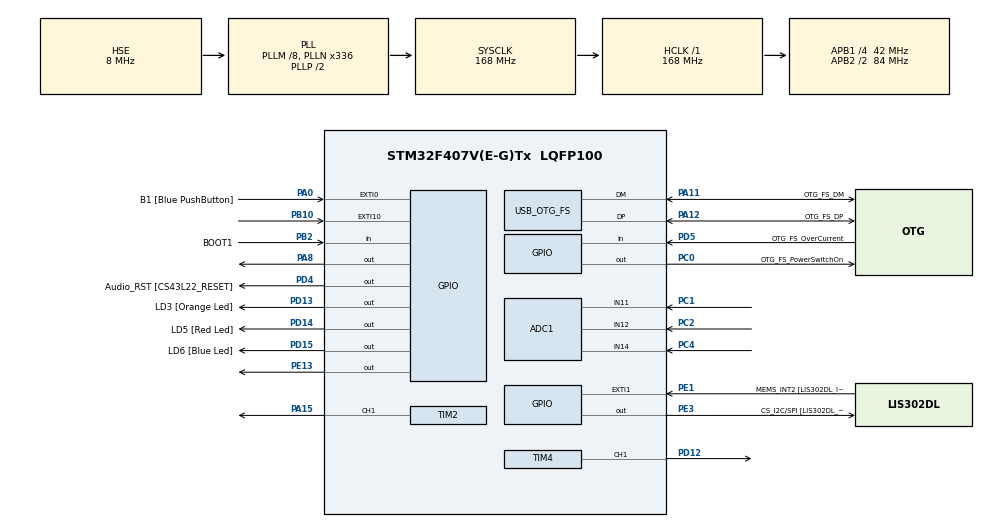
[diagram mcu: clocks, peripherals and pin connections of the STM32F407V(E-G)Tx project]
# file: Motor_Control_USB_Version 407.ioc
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ADC1.Channel-0\#ChannelRegularConversion=ADC_CHANNEL_11
ADC1.Channel-1\#ChannelRegularConversion=ADC_CHANNEL_12
ADC1.Channel-2\#ChannelRegularConversion=ADC_CHANNEL_14
ADC1.ContinuousConvMode=DISABLE
ADC1.DMAContinuousRequests=ENABLE
ADC1.ExternalTrigConv=ADC_EXTERNALTRIGCONV_T3_TRGO
ADC1.NbrOfConversion=3
ADC1.NbrOfConversionFlag=1
ADC1.Rank-0\#ChannelRegularConversion=1
ADC1.Rank-1\#ChannelRegularConversion=2
ADC1.Rank-2\#ChannelRegularConversion=3
ADC1.SamplingTime-0\#ChannelRegularConversion=ADC_SAMPLETIME_3CYCLES
ADC1.SamplingTime-1\#ChannelRegularConversion=ADC_SAMPLETIME_3CYCLES
ADC1.SamplingTime-2\#ChannelRegularConversion=ADC_SAMPLETIME_3CYCLES
ADC1.ScanConvMode=ENABLE
ADC1.master=1
Dma.ADC1.0.Direction=DMA_PERIPH_TO_MEMORY
Dma.ADC1.0.FIFOMode=DMA_FIFOMODE_DISABLE
Dma.ADC1.0.Instance=DMA2_Stream0
Dma.ADC1.0.MemDataAlignment=DMA_MDATAALIGN_HALFWORD
Dma.ADC1.0.MemInc=DMA_MINC_ENABLE
Dma.ADC1.0.Mode=DMA_CIRCULAR
Dma.ADC1.0.PeriphDataAlignment=DMA_PDATAALIGN_HALFWORD
Dma.ADC1.0.PeriphInc=DMA_PINC_DISABLE
Dma.ADC1.0.Priority=DMA_PRIORITY_LOW
Dma.Request0=ADC1
Mcu.Family=STM32F4
Mcu.Name=STM32F407V(E-G)Tx
Mcu.Package=LQFP100
NVIC.DMA2_Stream0_IRQn=true\:0\:0\:false\:false\:true\:false\:true\:true
NVIC.EXTI15_10_IRQn=true\:0\:0\:false\:false\:true\:true\:true\:true
NVIC.OTG_FS_IRQn=true\:0\:0\:false\:false\:true\:false\:true\:true
NVIC.PriorityGroup=NVIC_PRIORITYGROUP_0
NVIC.TIM1_CC_IRQn=true\:0\:0\:false\:false\:true\:true\:true\:true
NVIC.TIM1_UP_TIM10_IRQn=true\:0\:0\:false\:false\:true\:true\:true\:true
PA0-WKUP.GPIO_Label=B1 [Blue PushButton]
PA0-WKUP.GPIO_ModeDefaultEXTI=GPIO_MODE_EVT_RISING
PA0-WKUP.GPIO_PuPd=GPIO_NOPULL
PA0-WKUP.Signal=GPXTI0
PA10.GPIO_Label=OTG_FS_ID
PA10.GPIO_Mode=GPIO_MODE_AF_PP
PA10.GPIO_PuPd=GPIO_NOPULL
PA10.GPIO_Speed=GPIO_SPEED_FREQ_LOW
PA10.Signal=USB_OTG_FS_ID
PA11.GPIO_Label=OTG_FS_DM
PA11.GPIO_Mode=GPIO_MODE_AF_PP
PA11.GPIO_PuPd=GPIO_NOPULL
PA11.GPIO_Speed=GPIO_SPEED_FREQ_LOW
PA11.Mode=Device_Only
PA11.Signal=USB_OTG_FS_DM
PA12.GPIO_Label=OTG_FS_DP
PA12.GPIO_Mode=GPIO_MODE_AF_PP
PA12.GPIO_PuPd=GPIO_NOPULL
PA12.GPIO_Speed=GPIO_SPEED_FREQ_LOW
PA12.Mode=Device_Only
PA12.Signal=USB_OTG_FS_DP
PA13.GPIO_Label=SWDIO
PA13.Mode=Serial_Wire
PA13.Signal=SYS_JTMS-SWDIO
PA14.GPIO_Label=SWCLK
PA14.Mode=Serial_Wire
PA14.Signal=SYS_JTCK-SWCLK
PA15.Signal=S_TIM2_CH1_ETR
PA8.Signal=GPIO_Output
PA9.GPIO_Label=VBUS_FS
PA9.GPIO_Mode=GPIO_MODE_INPUT
PA9.GPIO_PuPd=GPIO_NOPULL
PA9.Signal=USB_OTG_FS_VBUS
PB10.GPIO_PuPd=GPIO_PULLUP
PB10.Signal=GPXTI10
PB2.GPIO_Label=BOOT1
PB2.GPIO_Mode=GPIO_MODE_INPUT
PB2.GPIO_PuPd=GPIO_NOPULL
PB2.Signal=GPIO_Input
PB3.GPIO_Label=SWO
PB3.Signal=SYS_JTDO-SWO
PB6.GPIO_Label=Audio_SCL [CS43L22_SCL]
PB6.GPIO_Mode=GPIO_MODE_AF_OD
PB6.GPIO_Pu=GPIO_PULLUP
PB6.GPIO_PuPd=GPIO_NOPULL
PB6.GPIO_Speed=GPIO_SPEED_FREQ_LOW
PB6.Signal=I2C1_SCL
PB9.GPIO_Label=Audio_SDA [CS43L22_SDA]
PB9.GPIO_Mode=GPIO_MODE_AF_OD
PB9.GPIO_Pu=GPIO_PULLUP
PB9.GPIO_PuPd=GPIO_NOPULL
PB9.GPIO_Speed=GPIO_SPEED_FREQ_LOW
PB9.Signal=I2C1_SDA
PC0.GPIO_Label=OTG_FS_PowerSwitchOn
PC0.GPIO_PuPd=GPIO_NOPULL
PC0.GPIO_Speed=GPIO_SPEED_FREQ_LOW
PC0.PinState=GPIO_PIN_SET
PC0.Signal=GPIO_Output
PC1.Signal=ADCx_IN11
PC10.GPIO_Label=I2S3_SCK [CS43L22_SCLK]
PC10.GPIO_Mode=GPIO_MODE_AF_PP
PC10.GPIO_PuPd=GPIO_NOPULL
PC10.GPIO_Speed=GPIO_SPEED_FREQ_LOW
PC10.Signal=I2S3_CK
PC12.GPIO_Label=I2S3_SD [CS43L22_SDIN]
PC12.GPIO_Mode=GPIO_MODE_AF_PP
PC12.GPIO_PuPd=GPIO_NOPULL
PC12.GPIO_Speed=GPIO_SPEED_FREQ_LOW
PC12.Signal=I2S3_SD
PC14-OSC32_IN.GPIO_Label=PC14-OSC32_IN
PC14-OSC32_IN.Mode=LSE-External-Oscillator
PC14-OSC32_IN.Signal=RCC_OSC32_IN
PC15-OSC32_OUT.GPIO_Label=PC15-OSC32_OUT
PC15-OSC32_OUT.Mode=LSE-External-Oscillator
PC15-OSC32_OUT.Signal=RCC_OSC32_OUT
PC2.Signal=ADCx_IN12
PC3.GPIO_Label=PDM_OUT [MP45DT02_DOUT]
PC3.GPIO_Mode=GPIO_MODE_AF_PP
PC3.GPIO_PuPd=GPIO_NOPULL
PC3.GPIO_Speed=GPIO_SPEED_FREQ_LOW
PC3.Signal=I2S2_SD
PC4.Signal=ADCx_IN14
PC7.GPIO_Label=I2S3_MCK [CS43L22_MCLK]
PC7.GPIO_Mode=GPIO_MODE_AF_PP
PC7.GPIO_PuPd=GPIO_NOPULL
PC7.GPIO_Speed=GPIO_SPEED_FREQ_LOW
PC7.Signal=I2S3_MCK
PD12.Signal=S_TIM4_CH1
PD13.GPIO_Label=LD3 [Orange Led]
PD13.GPIO_PuPd=GPIO_NOPULL
PD13.GPIO_Speed=GPIO_SPEED_FREQ_LOW
PD13.Signal=GPIO_Output
PD14.GPIO_Label=LD5 [Red Led]
PD14.GPIO_PuPd=GPIO_NOPULL
PD14.GPIO_Speed=GPIO_SPEED_FREQ_LOW
PD14.Signal=GPIO_Output
PD15.GPIO_Label=LD6 [Blue Led]
PD15.GPIO_PuPd=GPIO_NOPULL
PD15.GPIO_Speed=GPIO_SPEED_FREQ_LOW
PD15.Signal=GPIO_Output
PD4.GPIO_Label=Audio_RST [CS43L22_RESET]
PD4.GPIO_PuPd=GPIO_NOPULL
PD4.GPIO_Speed=GPIO_SPEED_FREQ_LOW
PD4.Signal=GPIO_Output
PD5.GPIO_Label=OTG_FS_OverCurrent
PD5.GPIO_Mode=GPIO_MODE_INPUT
PD5.GPIO_PuPd=GPIO_NOPULL
PD5.Signal=GPIO_Input
PE1.GPIO_Label=MEMS_INT2 [LIS302DL_INT2]
PE1.GPIO_ModeDefaultEXTI=GPIO_MODE_EVT_RISING
PE1.GPIO_PuPd=GPIO_NOPULL
PE1.Signal=GPXTI1
PE13.Signal=GPIO_Output
PE3.GPIO_Label=CS_I2C/SPI [LIS302DL_CS_I2C/SPI]
PE3.GPIO_PuPd=GPIO_NOPULL
PE3.GPIO_Speed=GPIO_SPEED_FREQ_LOW
PE3.Signal=GPIO_Output
PH0-OSC_IN.GPIO_Label=PH0-OSC_IN
PH0-OSC_IN.Mode=HSE-External-Oscillator
PH0-OSC_IN.Signal=RCC_OSC_IN
PH1-OSC_OUT.GPIO_Label=PH1-OSC_OUT
PH1-OSC_OUT.Mode=HSE-External-Oscillator
PH1-OSC_OUT.Signal=RCC_OSC_OUT
ProjectManager.HeapSize=0x200
ProjectManager.StackSize=0x400
ProjectManager.TargetToolchain=STM32CubeIDE
RCC.48MHZClocksFreq_Value=48000000
RCC.AHBFreq_Value=168000000
RCC.APB1CLKDivider=RCC_HCLK_DIV4
RCC.APB1Freq_Value=42000000
RCC.APB1TimFreq_Value=84000000
RCC.APB2CLKDivider=RCC_HCLK_DIV2
RCC.APB2Freq_Value=84000000
RCC.APB2TimFreq_Value=168000000
RCC.CortexFreq_Value=168000000
RCC.HCLKFreq_Value=168000000
RCC.HSE_VALUE=8000000
RCC.HSI_VALUE=16000000
RCC.PLLM=8
RCC.PLLN=336
RCC.PLLQ=7
RCC.PLLSourceVirtual=RCC_PLLSOURCE_HSE
RCC.SYSCLKFreq_VALUE=168000000
RCC.SYSCLKSource=RCC_SYSCLKSOURCE_PLLCLK
RCC.VCOOutputFreq_Value=336000000
SH.ADCx_IN11.0=ADC1_IN11,IN11
SH.ADCx_IN12.0=ADC1_IN12,IN12
SH.ADCx_IN14.0=ADC1_IN14,IN14
SH.S_TIM2_CH1_ETR.0=TIM2_CH1,PWM Generation1 CH1
SH.S_TIM4_CH1.0=TIM4_CH1,PWM Generation1 CH1
TIM1.AutoReloadPreload=TIM_AUTORELOAD_PRELOAD_ENABLE
TIM1.Channel-Output\ Compare1\ No\ Output=TIM_CHANNEL_1
TIM1.Channel-Output\ Compare2\ No\ Output=TIM_CHANNEL_2
TIM1.Channel-Output\ Compare3\ No\ Output=TIM_CHANNEL_3
TIM1.Channel-Output\ Compare4\ No\ Output=TIM_CHANNEL_4
TIM1.Period=65535
TIM1.Prescaler=167
TIM1.TIM_MasterOutputTrigger=TIM_TRGO_OC1
TIM1.TIM_MasterSlaveMode=TIM_MASTERSLAVEMODE_ENABLE
TIM2.Channel-PWM\ Generation1\ CH1=TIM_CHANNEL_1
TIM3.TIM_MasterOutputTrigger=TIM_TRGO_UPDATE
TIM4.Channel-PWM\ Generation1\ CH1=TIM_CHANNEL_1
TIM4.Period=4420
TIM8.Period=1000
TIM8.Prescaler=15
USB_DEVICE.CLASS_NAME_FS=CDC
USB_DEVICE.VirtualMode-CDC_FS=Cdc
USB_DEVICE.VirtualModeFS=Cdc_FS
USB_OTG_FS.VirtualMode=Device_Only
VP_TIM1_VS_ClockSourceINT.Mode=Internal
VP_TIM1_VS_no_output1.Mode=Output Compare1 No Output
VP_TIM1_VS_no_output2.Mode=Output Compare2 No Output
VP_TIM1_VS_no_output3.Mode=Output Compare3 No Output
VP_TIM1_VS_no_output4.Mode=Output Compare4 No Output
VP_TIM2_VS_ClockSourceINT.Mode=Internal
VP_TIM2_VS_ClockSourceITR.Mode=TriggerSource_ITR0
VP_TIM3_VS_ClockSourceINT.Mode=Internal
VP_TIM4_VS_ClockSourceINT.Mode=Internal
VP_TIM4_VS_ClockSourceITR.Mode=TriggerSource_ITR1
VP_TIM8_VS_ClockSourceINT.Mode=Internal
VP_USB_DEVICE_VS_USB_DEVICE_CDC_FS.Mode=CDC_FS
board=STM32F407G-DISC1

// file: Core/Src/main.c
/* USER CODE BEGIN Header */
/**
  ******************************************************************************
  * @file           : main.c
  * @brief          : Main program body
  * @note           : керування параметрами стробів через USB.
  ******************************************************************************
  */
/* USER CODE END Header */
#include "main.h"
#include "adc.h"
#include "dma.h"
#include "tim.h"
#include "usb_device.h"
#include "gpio.h"

/* USER CODE BEGIN Includes */
#include "pid_regulator.h"
#include "usbd_cdc_if.h"
#include <string.h>
#include <stdio.h>
#include <stdlib.h>
#include "critical.h"
/* USER CODE END Includes */

/* USER CODE BEGIN PD */
#define COMMAND_BUFFER_SIZE 64
/* USER CODE END PD */

/* USER CODE BEGIN PM */
#define CLAMP_VALUE(value, min, max) ((value) < (min) ? (min) : ((value) > (max) ? (max) : (value)))
/* USER CODE END PM */

/* USER CODE BEGIN PV */
volatile uint32_t g_pulse_width_permille = 150;
volatile uint32_t g_phase_shift_permille = 250;
volatile uint32_t g_start_delay_permille = 150;
volatile uint16_t adc_buf[3];
volatile uint8_t g_is_main_pulse_active = 0;
volatile uint8_t g_is_duplicate_pulse_active = 0;
char g_command_buffer[COMMAND_BUFFER_SIZE];
volatile uint8_t g_new_command_flag = 0;
uint32_t g_last_telemetry_time = 0;
volatile float g_current_real_frequency = 0.0f;
/* USER CODE END PV */

void SystemClock_Config(void);

int main(void)
{
  /* MCU Configuration--------------------------------------------------------*/
  HAL_Init();
  SystemClock_Config();
  MX_GPIO_Init();
  MX_DMA_Init();
  MX_TIM1_Init();
  MX_ADC1_Init();
  MX_TIM8_Init();
  MX_TIM3_Init();
  MX_TIM2_Init();
  MX_TIM4_Init();
  MX_USB_DEVICE_Init();
  /* USER CODE BEGIN 2 */
  // Потенціометри не використовуються: параметри надходять з програми по USB
  HAL_TIM_Base_Start(&htim1);
  HAL_TIM_OC_Start_IT(&htim1, TIM_CHANNEL_1);
  HAL_TIM_OC_Start_IT(&htim1, TIM_CHANNEL_2);
  HAL_TIM_OC_Start_IT(&htim1, TIM_CHANNEL_3);
  HAL_TIM_OC_Start_IT(&htim1, TIM_CHANNEL_4);
  PID_Init(&htim4, TIM_CHANNEL_1);
  HAL_GPIO_WritePin(GPIOA, GPIO_PIN_8, GPIO_PIN_RESET);
  HAL_GPIO_WritePin(GPIOE, GPIO_PIN_13, GPIO_PIN_RESET);
  HAL_Delay(2000);
  /* USER CODE END 2 */

  /* Infinite loop */
  while (1)
  {
    /* USER CODE BEGIN 3 */
    if (g_new_command_flag)
    {
        g_new_command_flag = 0;
        int value_int;
        float value_float;
        char* equals_ptr = strchr(g_command_buffer, '=');
        if (equals_ptr != NULL)
        {
            // Поточні значення зчитуються до розгалуження за режимом
            float current_kp, current_ki, current_kd;
            PID_GetTunings(&current_kp, &current_ki, &current_kd);

            CRITICAL_ENTER();
            switch (g_command_buffer[0])
            {
                case 'p':
                    value_float = atof(equals_ptr + 1);
                    PID_SetTunings(value_float, current_ki, current_kd);
                    break;
                case 'i':
                    value_float = atof(equals_ptr + 1);
                    PID_SetTunings(current_kp, value_float, current_kd);
                    break;
                case 'd':
                    value_float = atof(equals_ptr + 1);
                    PID_SetTunings(current_kp, current_ki, value_float);
                    break;
                case 't':
                    value_float = atof(equals_ptr + 1);
                    PID_SetTarget(value_float);
                    break;
                case 'l': value_int = atoi(equals_ptr + 1); g_start_delay_permille = CLAMP_VALUE(value_int, 0, 300); break;
                case 'w': value_int = atoi(equals_ptr + 1); g_pulse_width_permille = CLAMP_VALUE(value_int, 0, 300); break;
                case 's': value_int = atoi(equals_ptr + 1); g_phase_shift_permille = CLAMP_VALUE(value_int, 0, 500); break;
            }
             CRITICAL_EXIT();
        }
    }

    if (HAL_GetTick() - g_last_telemetry_time > 200)
    {
        g_last_telemetry_time = HAL_GetTick();
        char telemetry_buf[128];
        float kp, ki, kd, target_freq;
        uint32_t delay_pm, width_pm, shift_pm;
        uint32_t current_pwm_val;
        uint32_t pwm_period = __HAL_TIM_GET_AUTORELOAD(&htim4); // Отримуємо період ШІМ (4420)

        CRITICAL_ENTER();
        PID_GetTunings(&kp, &ki, &kd);
        target_freq = PID_GetTargetFrequency();
        current_pwm_val = PID_GetOutputPWM(); // Отримуємо значення ШІМ
        delay_pm = g_start_delay_permille;
        width_pm = g_pulse_width_permille;
        shift_pm = g_phase_shift_permille;
        CRITICAL_EXIT();

        int32_t freq_int = (int32_t)(g_current_real_frequency * 100);
        int32_t target_int = (int32_t)(target_freq * 100);
        int32_t kp_int = (int32_t)(kp * 10000);
        int32_t ki_int = (int32_t)(ki * 10000);
        int32_t kd_int = (int32_t)(kd * 10000);
        uint32_t duty_permille = 0;
        if (pwm_period > 0) { duty_permille = (current_pwm_val * 1000) / pwm_period; }

        sprintf(telemetry_buf, "iFreq:%ld;iTarget:%ld;iKp:%ld;iKi:%ld;iKd:%ld;iDelay:%lu;iWidth:%lu;iShift:%lu;iDuty:%lu\n",
                freq_int, target_int, kp_int, ki_int, kd_int,
                delay_pm, width_pm, shift_pm, duty_permille);
        CDC_Transmit_FS((uint8_t*)telemetry_buf, strlen(telemetry_buf));
    }

    // Формування вихідних стробів
    uint32_t is_pwm_high = (__HAL_TIM_GET_COUNTER(&htim4) < __HAL_TIM_GET_COMPARE(&htim4, TIM_CHANNEL_1));
    if (g_is_main_pulse_active && is_pwm_high) { HAL_GPIO_WritePin(GPIOA, GPIO_PIN_8, GPIO_PIN_SET); }
    else { HAL_GPIO_WritePin(GPIOA, GPIO_PIN_8, GPIO_PIN_RESET); }
    if (g_is_duplicate_pulse_active && is_pwm_high) { HAL_GPIO_WritePin(GPIOE, GPIO_PIN_13, GPIO_PIN_SET); }
    else { HAL_GPIO_WritePin(GPIOE, GPIO_PIN_13, GPIO_PIN_RESET); }
    /* USER CODE END 3 */
  }
}

void SystemClock_Config(void)
{
  RCC_OscInitTypeDef RCC_OscInitStruct = {0};
  RCC_ClkInitTypeDef RCC_ClkInitStruct = {0};
  __HAL_RCC_PWR_CLK_ENABLE();
  __HAL_PWR_VOLTAGESCALING_CONFIG(PWR_REGULATOR_VOLTAGE_SCALE1);
  RCC_OscInitStruct.OscillatorType = RCC_OSCILLATORTYPE_HSE;
  RCC_OscInitStruct.HSEState = RCC_HSE_ON;
  RCC_OscInitStruct.PLL.PLLState = RCC_PLL_ON;
  RCC_OscInitStruct.PLL.PLLSource = RCC_PLLSOURCE_HSE;
  RCC_OscInitStruct.PLL.PLLM = 8;
  RCC_OscInitStruct.PLL.PLLN = 336;
  RCC_OscInitStruct.PLL.PLLP = RCC_PLLP_DIV2;
  RCC_OscInitStruct.PLL.PLLQ = 7;
  if (HAL_RCC_OscConfig(&RCC_OscInitStruct) != HAL_OK) Error_Handler();
  RCC_ClkInitStruct.ClockType = RCC_CLOCKTYPE_HCLK|RCC_CLOCKTYPE_SYSCLK
                              |RCC_CLOCKTYPE_PCLK1|RCC_CLOCKTYPE_PCLK2;
  RCC_ClkInitStruct.SYSCLKSource = RCC_SYSCLKSOURCE_PLLCLK;
  RCC_ClkInitStruct.AHBCLKDivider = RCC_SYSCLK_DIV1;
  RCC_ClkInitStruct.APB1CLKDivider = RCC_HCLK_DIV4;
  RCC_ClkInitStruct.APB2CLKDivider = RCC_HCLK_DIV2;
  if (HAL_RCC_ClockConfig(&RCC_ClkInitStruct, FLASH_LATENCY_5) != HAL_OK) Error_Handler();
}

/* USER CODE BEGIN 4 */
// Обробник завершення перетворення АЦП
/* // ЗАКОМЕНТОВАНО: Тепер керуємо через USB
void HAL_ADC_ConvCpltCallback(ADC_HandleTypeDef* hadc)
{
    g_start_delay_permille = ((uint32_t)adc_buf[0] * 300) / 4095;
    g_pulse_width_permille = ((uint32_t)adc_buf[1] * 300) / 4095;
    g_phase_shift_permille = ((uint32_t)adc_buf[2] * 500) / 4095;
}
*/

// Обробник зовнішнього переривання від датчика Холла (PB10)
void HAL_GPIO_EXTI_Callback(uint16_t GPIO_Pin)
{
    if (GPIO_Pin == HALL_SENSOR_Pin)
    {
        uint32_t hall_period_ticks = __HAL_TIM_GET_COUNTER(&htim1);
        __HAL_TIM_SET_COUNTER(&htim1, 0);
        if (hall_period_ticks < 50) return;

        PID_Update(hall_period_ticks);

        // Використовуємо TIMER_TICK_FREQUENCY (1MHz) і множимо на 2.0f
        g_current_real_frequency = (TIMER_TICK_FREQUENCY / hall_period_ticks);

        // Розрахунок моментів комутації.
        //
        // Реалізація в цій копії не наводиться.
        //
        // За виміряним періодом датчика Холла і трьома параметрами — затримкою
        // старту, шириною імпульсу та фазовим зсувом — розраховуються чотири
        // моменти часу на період: вмикання і вимикання основного імпульсу та
        // вмикання і вимикання дублюючого. Значення записуються в регістри
        // порівняння таймера, тому самі імпульси формуються апаратно, без
        // участі ядра.
        //
        // Роботу алгоритму показано у відеозаписі, посилання в README.

        __HAL_TIM_SET_COMPARE(&htim1, TIM_CHANNEL_1, 0);
        __HAL_TIM_SET_COMPARE(&htim1, TIM_CHANNEL_2, 0);
        __HAL_TIM_SET_COMPARE(&htim1, TIM_CHANNEL_3, 0);
        __HAL_TIM_SET_COMPARE(&htim1, TIM_CHANNEL_4, 0);
    }
}

// Обробник переривання від таймера TIM1
void HAL_TIM_OC_DelayElapsedCallback(TIM_HandleTypeDef *htim)
{
    if (htim->Instance == TIM1) {
        switch (htim->Channel) {
            case HAL_TIM_ACTIVE_CHANNEL_1: g_is_main_pulse_active = 1; break;
            case HAL_TIM_ACTIVE_CHANNEL_2: g_is_main_pulse_active = 0; break;
            case HAL_TIM_ACTIVE_CHANNEL_3: g_is_duplicate_pulse_active = 1; break;
            case HAL_TIM_ACTIVE_CHANNEL_4: g_is_duplicate_pulse_active = 0; break;
        }
    }
}
/* USER CODE END 4 */

void Error_Handler(void)
{
  __disable_irq();
  while (1) {}
}
